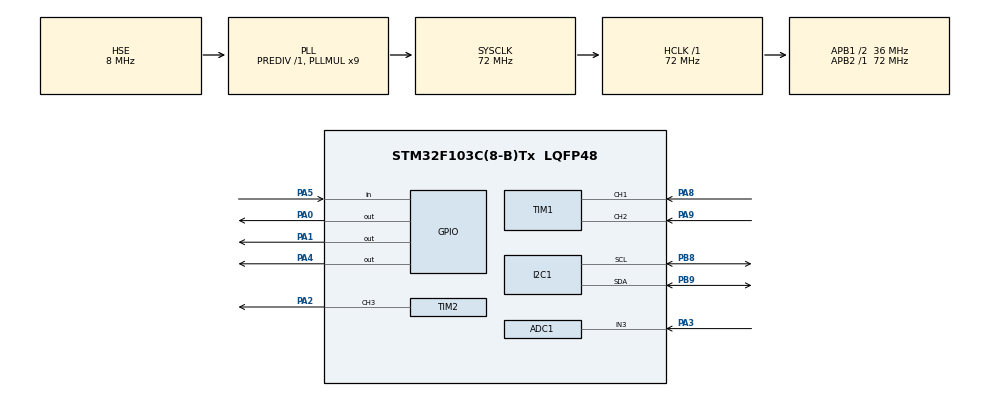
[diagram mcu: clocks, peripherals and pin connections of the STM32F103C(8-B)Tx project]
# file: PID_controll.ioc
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ADC1.Channel-3\#ChannelRegularConversion=ADC_CHANNEL_3
ADC1.ContinuousConvMode=ENABLE
ADC1.NbrOfConversionFlag=1
ADC1.Rank-3\#ChannelRegularConversion=1
ADC1.SamplingTime-3\#ChannelRegularConversion=ADC_SAMPLETIME_1CYCLE_5
ADC1.master=1
I2C1.I2C_Mode=I2C_Fast
Mcu.Family=STM32F1
Mcu.Name=STM32F103C(8-B)Tx
Mcu.Package=LQFP48
NVIC.PriorityGroup=NVIC_PRIORITYGROUP_4
NVIC.TIM1_BRK_IRQn=true\:0\:0\:false\:false\:true\:true\:true\:true
NVIC.TIM2_IRQn=true\:0\:0\:false\:false\:true\:true\:true\:true
PA0-WKUP.Signal=GPIO_Output
PA1.Signal=GPIO_Output
PA13.Mode=Serial_Wire
PA13.Signal=SYS_JTMS-SWDIO
PA14.Mode=Serial_Wire
PA14.Signal=SYS_JTCK-SWCLK
PA2.Signal=S_TIM2_CH3
PA3.Signal=ADCx_IN3
PA4.GPIO_PuPd=GPIO_PULLUP
PA4.Signal=GPIO_Output
PA5.Signal=GPIO_Input
PA8.Signal=S_TIM1_CH1
PA9.Signal=S_TIM1_CH2
PB8.Mode=I2C
PB8.Signal=I2C1_SCL
PB9.Mode=I2C
PB9.Signal=I2C1_SDA
PC14-OSC32_IN.Mode=LSE-External-Oscillator
PC14-OSC32_IN.Signal=RCC_OSC32_IN
PC15-OSC32_OUT.Mode=LSE-External-Oscillator
PC15-OSC32_OUT.Signal=RCC_OSC32_OUT
PD0-OSC_IN.Mode=HSE-External-Oscillator
PD0-OSC_IN.Signal=RCC_OSC_IN
PD1-OSC_OUT.Mode=HSE-External-Oscillator
PD1-OSC_OUT.Signal=RCC_OSC_OUT
ProjectManager.HeapSize=0x200
ProjectManager.StackSize=0x400
ProjectManager.TargetToolchain=MDK-ARM V5
RCC.ADCPresc=RCC_ADCPCLK2_DIV6
RCC.AHBFreq_Value=72000000
RCC.APB1CLKDivider=RCC_HCLK_DIV2
RCC.APB1Freq_Value=36000000
RCC.APB1TimFreq_Value=72000000
RCC.APB2Freq_Value=72000000
RCC.APB2TimFreq_Value=72000000
RCC.HCLKFreq_Value=72000000
RCC.PLLMUL=RCC_PLL_MUL9
RCC.PLLSourceVirtual=RCC_PLLSOURCE_HSE
RCC.SYSCLKFreq_VALUE=72000000
RCC.SYSCLKSource=RCC_SYSCLKSOURCE_PLLCLK
RCC.USBFreq_Value=72000000
SH.ADCx_IN3.0=ADC1_IN3,IN3
SH.S_TIM1_CH1.0=TIM1_CH1,Encoder_Interface
SH.S_TIM1_CH2.0=TIM1_CH2,Encoder_Interface
SH.S_TIM2_CH3.0=TIM2_CH3,PWM Generation3 CH3
TIM1.EncoderMode=TIM_ENCODERMODE_TI12
TIM2.Channel-PWM\ Generation3\ CH3=TIM_CHANNEL_3
TIM2.Period=10-1
TIM2.Prescaler=72-1
board=custom

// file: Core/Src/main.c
/* USER CODE BEGIN Header */
/**
  ******************************************************************************
  * @file           : main.c
  * @brief          : Main program body
  ******************************************************************************
  * @attention
  *
  * Copyright (c) 2026 STMicroelectronics.
  * All rights reserved.
  *
  * This software is licensed under terms that can be found in the LICENSE file
  * in the root directory of this software component.
  * If no LICENSE file comes with this software, it is provided AS-IS.
  *
  ******************************************************************************
  */
/* USER CODE END Header */
#include "main.h"
#include "adc.h"
#include "i2c.h"
#include "tim.h"
#include "gpio.h"

/* USER CODE BEGIN Includes */
#include "C:\Users\86138\Desktop\stm32\PID_controll\MOTOR\motor.h"
#include "C:\Users\86138\Desktop\stm32\PID_controll\Hardware\OLED.h"
/* USER CODE END Includes */

void SystemClock_Config(void);

int main(void)
{

  /* MCU Configuration--------------------------------------------------------*/

  /* Reset of all peripherals, Initializes the Flash interface and the Systick. */
  HAL_Init();

  /* Configure the system clock */
  SystemClock_Config();

  /* Initialize all configured peripherals */
  MX_GPIO_Init();
  MX_I2C1_Init();
  MX_TIM1_Init();
  MX_TIM2_Init();
  MX_ADC1_Init();
  /* USER CODE BEGIN 2 */
	OLED_INIT();
	OLED_Clear();
	OLED_Update();
	int value = 0,se = 0;
	double voltage = 0.0;
	HAL_ADCEx_Calibration_Start(&hadc1);
	HAL_ADC_Start(&hadc1);
	HAL_ADC_PollForConversion(&hadc1,HAL_MAX_DELAY);
	/*uint8_t Key_State,Key_State_Last;
	HAL_TIM_Base_Start(&htim2);
	HAL_TIM_PWM_Start(&htim2,TIM_CHANNEL_3);
	HAL_TIM_Encoder_Start(&htim1,TIM_CHANNEL_1 | TIM_CHANNEL_2);
	__HAL_TIM_SetCompare(&htim2,TIM_CHANNEL_3,100);
	stop_engine();*/
  /* USER CODE END 2 */

  /* Infinite loop */
  /* USER CODE BEGIN WHILE */
  while (1)
  {
		value = HAL_ADC_GetValue(&hadc1);
		voltage = (value / 4095.0) * 3.3 * 6;
		OLED_Printf(0,0,OLED_8X16,"value:%d",value);
		OLED_Printf(0,16,OLED_8X16,"V:%lf",voltage);
		OLED_Printf(0,32,OLED_8X16,"time:%ds",se);
		OLED_Update();
		se++;
		HAL_Delay(1000);
    /* USER CODE END WHILE */

  }
}

void SystemClock_Config(void)
{
  RCC_OscInitTypeDef RCC_OscInitStruct = {0};
  RCC_ClkInitTypeDef RCC_ClkInitStruct = {0};
  RCC_PeriphCLKInitTypeDef PeriphClkInit = {0};

  /** Initializes the RCC Oscillators according to the specified parameters
  * in the RCC_OscInitTypeDef structure.
  */
  RCC_OscInitStruct.OscillatorType = RCC_OSCILLATORTYPE_HSE;
  RCC_OscInitStruct.HSEState = RCC_HSE_ON;
  RCC_OscInitStruct.HSEPredivValue = RCC_HSE_PREDIV_DIV1;
  RCC_OscInitStruct.HSIState = RCC_HSI_ON;
  RCC_OscInitStruct.PLL.PLLState = RCC_PLL_ON;
  RCC_OscInitStruct.PLL.PLLSource = RCC_PLLSOURCE_HSE;
  RCC_OscInitStruct.PLL.PLLMUL = RCC_PLL_MUL9;
  if (HAL_RCC_OscConfig(&RCC_OscInitStruct) != HAL_OK)
  {
    Error_Handler();
  }

  /** Initializes the CPU, AHB and APB buses clocks
  */
  RCC_ClkInitStruct.ClockType = RCC_CLOCKTYPE_HCLK|RCC_CLOCKTYPE_SYSCLK
                              |RCC_CLOCKTYPE_PCLK1|RCC_CLOCKTYPE_PCLK2;
  RCC_ClkInitStruct.SYSCLKSource = RCC_SYSCLKSOURCE_PLLCLK;
  RCC_ClkInitStruct.AHBCLKDivider = RCC_SYSCLK_DIV1;
  RCC_ClkInitStruct.APB1CLKDivider = RCC_HCLK_DIV2;
  RCC_ClkInitStruct.APB2CLKDivider = RCC_HCLK_DIV1;

  if (HAL_RCC_ClockConfig(&RCC_ClkInitStruct, FLASH_LATENCY_2) != HAL_OK)
  {
    Error_Handler();
  }
  PeriphClkInit.PeriphClockSelection = RCC_PERIPHCLK_ADC;
  PeriphClkInit.AdcClockSelection = RCC_ADCPCLK2_DIV6;
  if (HAL_RCCEx_PeriphCLKConfig(&PeriphClkInit) != HAL_OK)
  {
    Error_Handler();
  }
}

void Error_Handler(void)
{
  __disable_irq();
  while (1)
  {
  }
}
